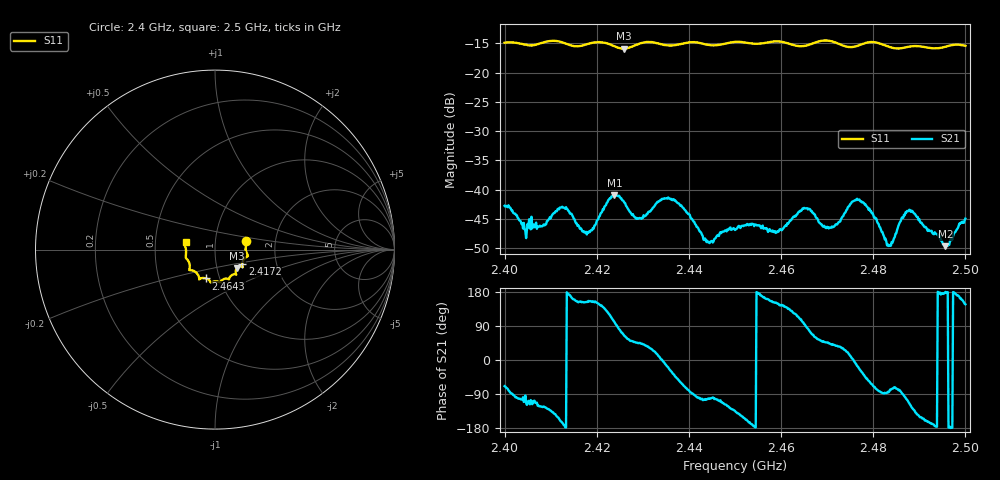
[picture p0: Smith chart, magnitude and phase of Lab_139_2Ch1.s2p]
# Hz S RI R 50
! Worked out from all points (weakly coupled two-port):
!   601 points, 2.4 GHz to 2.5 GHz, reference 50 ohm
!   highest |S21| = -40.96 dB at 2.4238 GHz (marker M1); lowest = -49.7 dB at 2.4957 GHz (marker M2)
!   lowest |S11| = -15.9 dB at 2.4258 GHz (marker M3), VSWR 1.38, Z = 62.4 - j13.3 ohm
!   |S11| at or under -10 dB: start of sweep to end of sweep
!   S12 and S22 are empty: the file has one direction only
!   S11 on the Smith chart (normalised r, x): 2.4 GHz: 1.41, +0.14; 2.4172 GHz: 1.34, -0.22; 2.4643 GHz: 0.86, -0.28; 2.5 GHz: 0.72, +0.06
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2.4e9  0.1733 0.049  0.0026 -0.00679  0 0  0 0
2.404333e9  0.1725 0.0221  -0.00148 -0.00437  0 0  0 0
2.4125e9  0.1774 -0.0393  -0.00691 -0.00177  0 0  0 0
2.416667e9  0.1526 -0.0742  -0.00408 0.00212  0 0  0 0
2.417167e9  0.1519 -0.08  -0.0039 0.00207  0 0  0 0
2.419e9  0.1528 -0.0948  -0.00401 0.00203  0 0  0 0
2.423833e9  0.1392 -0.0944  -0.00161 0.0088  0 0  0 0
2.425833e9  0.1224 -0.1038  0.00314 0.0073  0 0  0 0
2.429167e9  0.1155 -0.133  0.00405 0.00401  0 0  0 0
2.433333e9  0.1124 -0.1375  0.00768 0.00153  0 0  0 0
2.4375e9  0.0844 -0.1509  0.00504 -0.00583  0 0  0 0
2.444167e9  0.0621 -0.161  -0.000727 -0.00346  0 0  0 0
2.45e9  0.0286 -0.1812  -0.00315 -0.00323  0 0  0 0
2.459e9  -0.0226 -0.1836  -0.0038 0.00215  0 0  0 0
2.464333e9  -0.0498 -0.1606  -0.00195 0.00628  0 0  0 0
2.466667e9  -0.0759 -0.1594  0.0024 0.0061  0 0  0 0
2.470833e9  -0.0878 -0.1641  0.00354 0.00312  0 0  0 0
2.476833e9  -0.1251 -0.1163  0.00767 -0.00289  0 0  0 0
2.483333e9  -0.1406 -0.0896  0.000275 -0.00328  0 0  0 0
2.487833e9  -0.1589 -0.0512  -0.00281 -0.00611  0 0  0 0
2.495667e9  -0.1657 0.0167  -0.00328 2.84e-05  0 0  0 0
2.5e9  -0.164 0.043  -0.00474 0.00308  0 0  0 0
